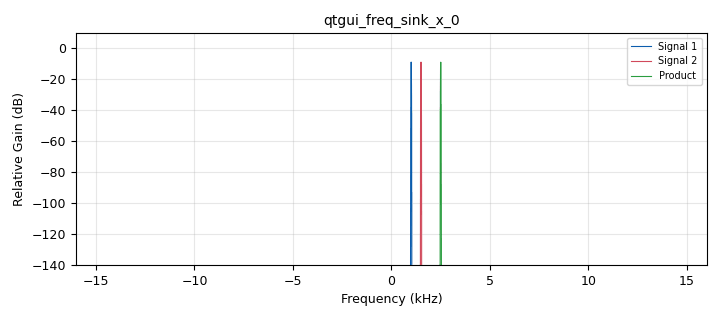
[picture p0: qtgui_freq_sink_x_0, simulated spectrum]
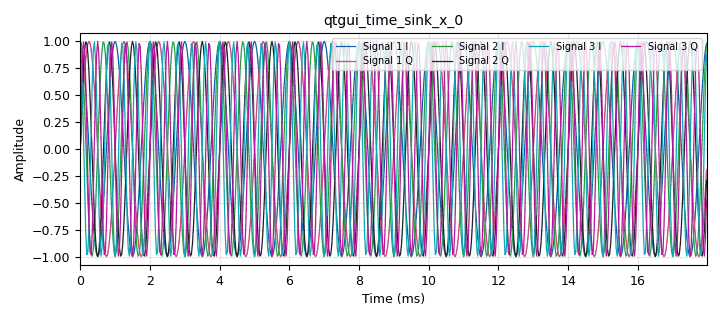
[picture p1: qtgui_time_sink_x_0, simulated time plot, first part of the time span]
options:
  parameters:
    generate_options: qt_gui
    id: complex_exp_multiplication
    output_language: python
    title: Complex exponential multiplication
  states: {}

blocks:
- name: freq1
  id: variable_qtgui_entry
  parameters:
    label: Frequency 1
    type: real
    value: '1000'
  states: {}
- name: freq2
  id: variable_qtgui_entry
  parameters:
    label: Frequency 2
    type: real
    value: '1500'
  states: {}
- name: samp_rate
  id: variable
  parameters:
    value: '32000'
  states: {}
- name: analog_sig_source_x_0
  id: analog_sig_source_x
  parameters:
    amp: '1'
    freq: freq1
    offset: '0'
    phase: '0'
    samp_rate: samp_rate
    type: complex
    waveform: analog.GR_COS_WAVE
  states: {}
- name: analog_sig_source_x_0_0
  id: analog_sig_source_x
  parameters:
    amp: '1'
    freq: freq2
    offset: '0'
    phase: '0'
    samp_rate: samp_rate
    type: complex
    waveform: analog.GR_COS_WAVE
  states: {}
- name: blocks_multiply_xx_0
  id: blocks_multiply_xx
  parameters:
    type: complex
  states: {}
- name: qtgui_freq_sink_x_0
  id: qtgui_freq_sink_x
  parameters:
    bw: samp_rate
    fc: '0'
    fftsize: '4096'
    label1: Signal 1
    label2: Signal 2
    label3: Product
    nconnections: '3'
    type: complex
  states: {}
- name: qtgui_time_sink_x_0
  id: qtgui_time_sink_x
  parameters:
    label1: Signal 1 I
    label2: Signal 1 Q
    label3: Signal 2 I
    label4: Signal 2 Q
    label5: Signal 3 I
    label6: Signal 3 Q
    nconnections: '3'
    size: '1024'
    srate: samp_rate
    type: complex
  states: {}

connections:
- [analog_sig_source_x_0, '0', blocks_multiply_xx_0, '0']
- [analog_sig_source_x_0, '0', qtgui_freq_sink_x_0, '0']
- [analog_sig_source_x_0, '0', qtgui_time_sink_x_0, '0']
- [analog_sig_source_x_0_0, '0', blocks_multiply_xx_0, '1']
- [analog_sig_source_x_0_0, '0', qtgui_freq_sink_x_0, '1']
- [analog_sig_source_x_0_0, '0', qtgui_time_sink_x_0, '1']
- [blocks_multiply_xx_0, '0', qtgui_freq_sink_x_0, '2']
- [blocks_multiply_xx_0, '0', qtgui_time_sink_x_0, '2']

metadata:
  file_format: 1
  grc_version: 3.10.10.0
